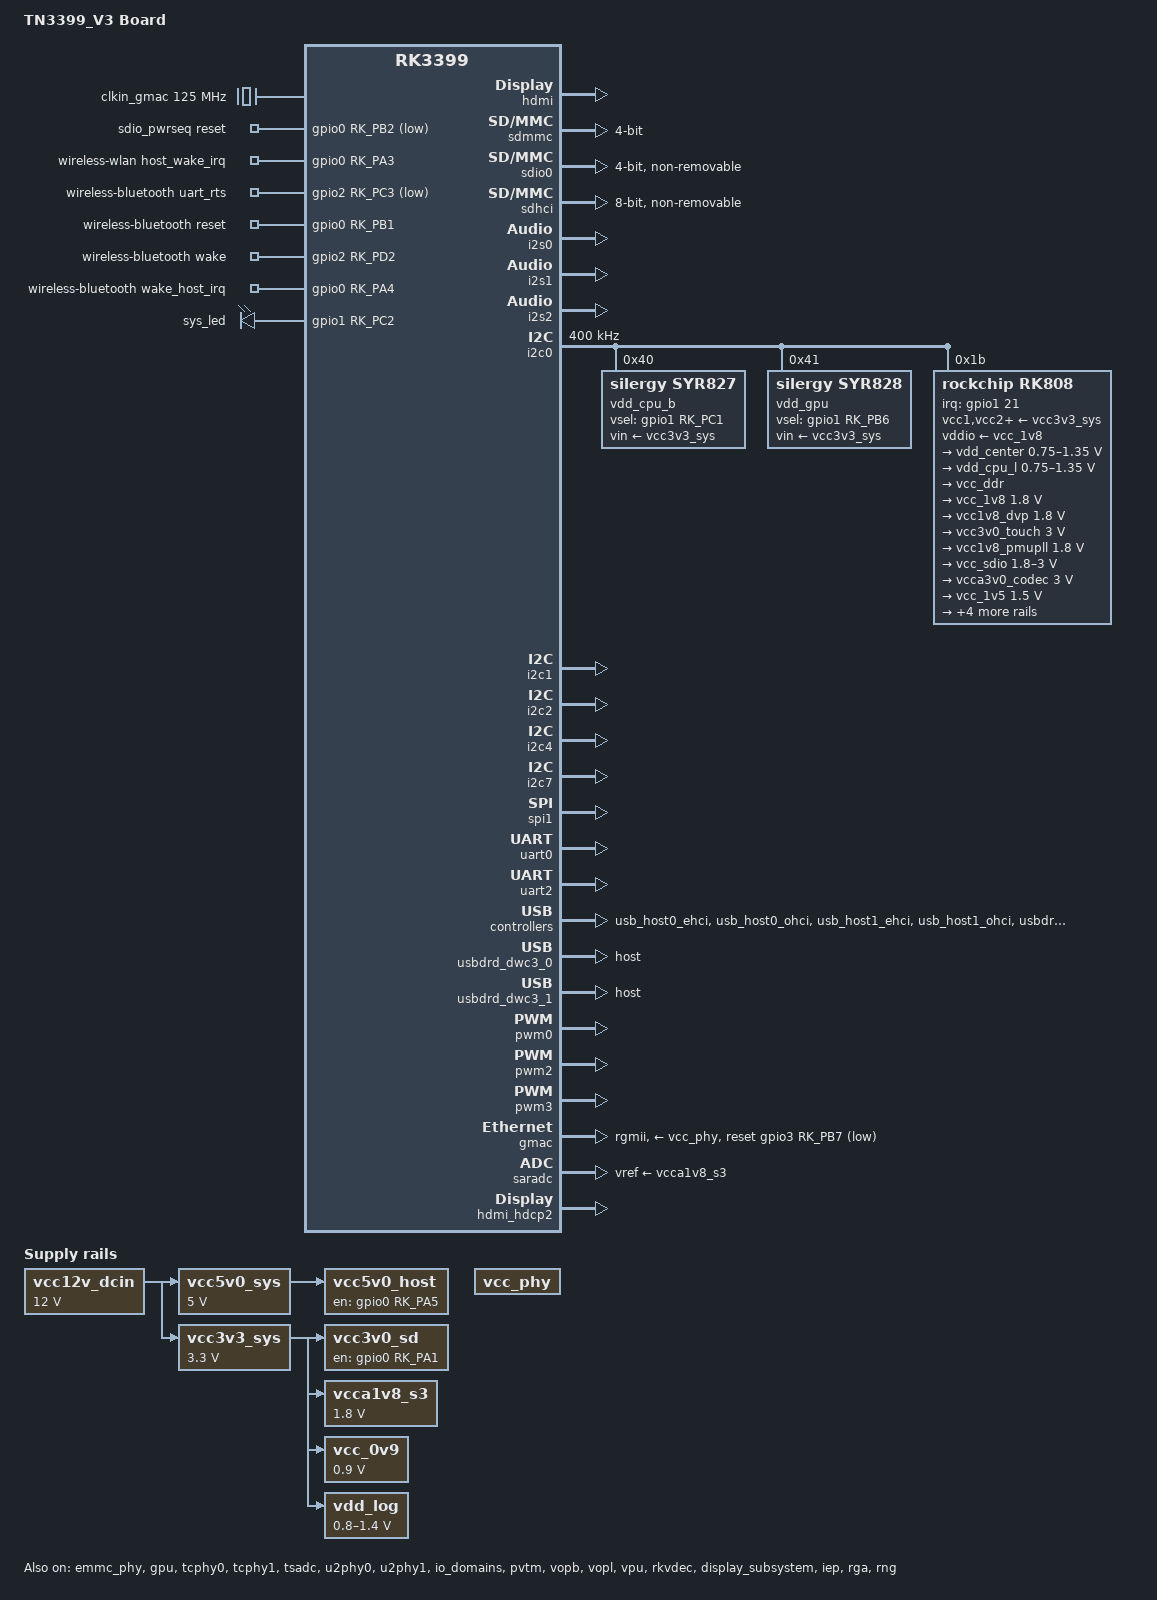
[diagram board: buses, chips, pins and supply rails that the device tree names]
// SPDX-License-Identifier: (GPL-2.0+ OR MIT)
/*
 * dts from https://github.com/retro98boy/linux-tn3399_v3
 */

/dts-v1/;
#include <dt-bindings/pwm/pwm.h>
#include <dt-bindings/input/input.h>
#include "rk3399.dtsi"
#include "rk3399-opp.dtsi"
#include "rk3399-vop-clk-set.dtsi"

/ {
	model = "TN3399_V3 Board";
	compatible = "rockchip,tn3399_v3", "rockchip,rk3399";

	chosen {
		bootargs = "earlycon=uart8250,mmio32,0xff1a0000 swiotlb=1";
		stdout-path = "serial2:1500000n8";
	};

	vcc12v_dcin: vcc12v-dcin {
		compatible = "regulator-fixed";
		regulator-name = "vcc12v_dcin";
		regulator-always-on;
		regulator-boot-on;
		regulator-min-microvolt = <12000000>;
		regulator-max-microvolt = <12000000>;
	};

	vcc5v0_sys: vcc5v0-sys {
		compatible = "regulator-fixed";
		regulator-name = "vcc5v0_sys";
		regulator-always-on;
		regulator-boot-on;
		regulator-min-microvolt = <5000000>;
		regulator-max-microvolt = <5000000>;
		vin-supply = <&vcc12v_dcin>;
	};

	vcc5v0_host: vcc5v0-host {
		compatible = "regulator-fixed";
		enable-active-high;
		gpio = <&gpio0 RK_PA5 GPIO_ACTIVE_HIGH>;
		pinctrl-names = "default";
		pinctrl-0 = <&vcc5v0_host_en>;
		regulator-name = "vcc5v0_host";
		regulator-always-on;
		regulator-boot-on;
		vin-supply = <&vcc5v0_sys>;
	};

	vcc3v3_sys: vcc3v3-sys {
		compatible = "regulator-fixed";
		regulator-name = "vcc3v3_sys";
		regulator-always-on;
		regulator-boot-on;
		regulator-min-microvolt = <3300000>;
		regulator-max-microvolt = <3300000>;
		vin-supply = <&vcc12v_dcin>;
	};

	vcc3v0_sd: vcc3v0-sd {
		compatible = "regulator-fixed";
		enable-active-high;
		gpio = <&gpio0 RK_PA1 GPIO_ACTIVE_HIGH>;
		pinctrl-names = "default";
		pinctrl-0 = <&vcc3v0_sd_en>;
		regulator-name = "vcc3v0_sd";
		regulator-always-on;
		vin-supply = <&vcc3v3_sys>;
	};

	vcca1v8_s3: vcca1v8-s3 {
		compatible = "regulator-fixed";
		regulator-name = "vcca1v8_s3";
		regulator-always-on;
		regulator-boot-on;
		regulator-min-microvolt = <1800000>;
		regulator-max-microvolt = <1800000>;
		vin-supply = <&vcc3v3_sys>;
	};

	vcc_0v9: vcc-0v9 {
		compatible = "regulator-fixed";
		regulator-name = "vcc_0v9";
		regulator-always-on;
		regulator-boot-on;
		regulator-min-microvolt = <900000>;
		regulator-max-microvolt = <900000>;
		vin-supply = <&vcc3v3_sys>;
	};

	vcc_phy: vcc-phy {
		compatible = "regulator-fixed";
		regulator-name = "vcc_phy";
		regulator-always-on;
		regulator-boot-on;
	};

	vdd_log: vdd-log {
		compatible = "pwm-regulator";
		pwms = <&pwm2 0 25000 1>;
		regulator-name = "vdd_log";
		regulator-min-microvolt = <800000>;
		regulator-max-microvolt = <1400000>;
		regulator-always-on;
		regulator-boot-on;

		/* for rockchip boot on */
		rockchip,pwm_id= <2>;
		rockchip,pwm_voltage = <900000>;

		vin-supply = <&vcc3v3_sys>;
	};

	clkin_gmac: external-gmac-clock {
		compatible = "fixed-clock";
		clock-frequency = <125000000>;
		clock-output-names = "clkin_gmac";
		#clock-cells = <0>;
	};

	hdmi_sound: hdmi-sound {
		compatible = "simple-audio-card";
		simple-audio-card,format = "i2s";
		simple-audio-card,mclk-fs = <256>;
		simple-audio-card,name = "rockchip,hdmi";

		simple-audio-card,cpu {
			sound-dai = <&i2s2>;
		};

		simple-audio-card,codec {
			sound-dai = <&hdmi>;
		};
	};

	sdio_pwrseq: sdio-pwrseq {
		compatible = "mmc-pwrseq-simple";
		clocks = <&rk808 1>;
		clock-names = "ext_clock";
		pinctrl-names = "default";
		pinctrl-0 = <&wifi_enable_h>;

		/*
		 * On the module itself this is one of these (depending
		 * on the actual card populated):
		 * - SDIO_RESET_L_WL_REG_ON
		 * - PDN (power down when low)
		 */
		reset-gpios = <&gpio0 RK_PB2 GPIO_ACTIVE_LOW>;
	};

	wireless-wlan {
		compatible = "wlan-platdata";
		rockchip,grf = <&grf>;
		wifi_chip_type = "ap6255";
		sdio_vref = <1800>;
		WIFI,host_wake_irq = <&gpio0 RK_PA3 GPIO_ACTIVE_HIGH>;
	};

	wireless-bluetooth {
		compatible = "bluetooth-platdata";
		clocks = <&rk808 1>;
		clock-names = "ext_clock";
		uart_rts_gpios = <&gpio2 RK_PC3 GPIO_ACTIVE_LOW>;
		pinctrl-names = "default", "rts_gpio";
		pinctrl-0 = <&uart0_rts>;
		pinctrl-1 = <&uart0_gpios>;
		BT,reset_gpio    = <&gpio0 RK_PB1 GPIO_ACTIVE_HIGH>;
		BT,wake_gpio     = <&gpio2 RK_PD2 GPIO_ACTIVE_HIGH>;
		BT,wake_host_irq = <&gpio0 RK_PA4 GPIO_ACTIVE_HIGH>;
	};

	gpio-leds {
		compatible = "gpio-leds";

		sys_led {
			label = "sys_led";
			linux,default-trigger = "heartbeat";
			default-state = "on";
			gpios = <&gpio1 RK_PC2 GPIO_ACTIVE_HIGH>;
		};
	};
};

&hdmi {
	status = "okay";
	#address-cells = <1>;
	#size-cells = <0>;
	#sound-dai-cells = <0>;
};

&sdmmc {
	status = "okay";
	clock-frequency = <100000000>;
	clock-freq-min-max = <100000 100000000>;
	supports-sd;
	bus-width = <4>;
	cap-mmc-highspeed;
	cap-sd-highspeed;
	disable-wp;
	num-slots = <1>;
	pinctrl-names = "default";
	pinctrl-0 = <&sdmmc_clk &sdmmc_cmd &sdmmc_cd &sdmmc_bus4>;
	card-detect-delay = <800>;
};

&sdio0 {
	status = "okay";
	clock-frequency = <100000000>;
	clock-freq-min-max = <200000 100000000>;
	supports-sdio;
	bus-width = <4>;
	disable-wp;
	cap-sd-highspeed;
	cap-sdio-irq;
	keep-power-in-suspend;
	mmc-pwrseq = <&sdio_pwrseq>;
	non-removable;
	num-slots = <1>;
	pinctrl-names = "default";
	pinctrl-0 = <&sdio0_bus4 &sdio0_cmd &sdio0_clk>;
};

&emmc_phy {
	status = "okay";
};

&sdhci {
    status = "okay";
	bus-width = <8>;
	mmc-hs400-1_8v;
	mmc-hs400-enhanced-strobe;
	non-removable;
	supports-emmc;
};

&i2s0 {
	status = "okay";
};

&i2s1 {
	status = "okay";
};

&i2s2 {
	status = "okay";
};

&i2c0 {
	status = "okay";
	i2c-scl-rising-time-ns = <168>;
	i2c-scl-falling-time-ns = <4>;
	clock-frequency = <400000>;

	vdd_cpu_b: syr827@40 {
		compatible = "silergy,syr827";
		reg = <0x40>;
		regulator-compatible = "fan53555-reg";
		pinctrl-0 = <&vsel1_gpio>;
		vsel-gpios = <&gpio1 RK_PC1 GPIO_ACTIVE_HIGH>;
		regulator-name = "vdd_cpu_b";
		regulator-min-microvolt = <712500>;
		regulator-max-microvolt = <1500000>;
		regulator-ramp-delay = <1000>;
		fcs,suspend-voltage-selector = <1>;
		regulator-always-on;
		regulator-boot-on;
		vin-supply = <&vcc3v3_sys>;
		regulator-state-mem {
			regulator-off-in-suspend;
		};
	};

	vdd_gpu: syr828@41 {
		compatible = "silergy,syr828";
		reg = <0x41>;
		regulator-compatible = "fan53555-reg";
		pinctrl-0 = <&vsel2_gpio>;
		vsel-gpios = <&gpio1 RK_PB6 GPIO_ACTIVE_HIGH>;
		regulator-name = "vdd_gpu";
		regulator-min-microvolt = <712500>;
		regulator-max-microvolt = <1500000>;
		regulator-ramp-delay = <1000>;
		fcs,suspend-voltage-selector = <1>;
		regulator-always-on;
		regulator-boot-on;
		vin-supply = <&vcc3v3_sys>;
		regulator-initial-mode = <1>; /* 1:force PWM 2:auto */
		regulator-state-mem {
			regulator-off-in-suspend;
		};
	};

	rk808: pmic@1b {
		compatible = "rockchip,rk808";
		reg = <0x1b>;
		interrupt-parent = <&gpio1>;
		interrupts = <21 IRQ_TYPE_LEVEL_LOW>;
		pinctrl-names = "default";
		pinctrl-0 = <&pmic_int_l>;
		rockchip,system-power-controller;
		wakeup-source;
		#clock-cells = <1>;
		clock-output-names = "xin32k", "rk808-clkout2";

		vcc1-supply = <&vcc3v3_sys>;
		vcc2-supply = <&vcc3v3_sys>;
		vcc3-supply = <&vcc3v3_sys>;
		vcc4-supply = <&vcc3v3_sys>;
		vcc6-supply = <&vcc3v3_sys>;
		vcc7-supply = <&vcc3v3_sys>;
		vcc8-supply = <&vcc3v3_sys>;
		vcc9-supply = <&vcc3v3_sys>;
		vcc10-supply = <&vcc3v3_sys>;
		vcc11-supply = <&vcc3v3_sys>;
		vcc12-supply = <&vcc3v3_sys>;
		vddio-supply = <&vcc_1v8>;

		rtc {
			status = "okay";
		};

		regulators {
			vdd_center: DCDC_REG1 {
				regulator-name = "vdd_center";
				regulator-min-microvolt = <750000>;
				regulator-max-microvolt = <1350000>;
				regulator-ramp-delay = <6001>;
				regulator-always-on;
				regulator-boot-on;
				regulator-state-mem {
					regulator-off-in-suspend;
				};
			};

			vdd_cpu_l: DCDC_REG2 {
				regulator-name = "vdd_cpu_l";
				regulator-min-microvolt = <750000>;
				regulator-max-microvolt = <1350000>;
				regulator-ramp-delay = <6001>;
				regulator-always-on;
				regulator-boot-on;
				regulator-state-mem {
					regulator-off-in-suspend;
				};
			};

			vcc_ddr: DCDC_REG3 {
				regulator-name = "vcc_ddr";
				regulator-always-on;
				regulator-boot-on;
				regulator-state-mem {
					regulator-on-in-suspend;
				};
			};

			vcc_1v8: DCDC_REG4 {
				regulator-name = "vcc_1v8";
				regulator-min-microvolt = <1800000>;
				regulator-max-microvolt = <1800000>;
				regulator-always-on;
				regulator-boot-on;
				regulator-state-mem {
					regulator-on-in-suspend;
					regulator-suspend-microvolt = <1800000>;
				};
			};

			vcc1v8_dvp: LDO_REG1 {
				regulator-name = "vcc1v8_dvp";
				regulator-min-microvolt = <1800000>;
				regulator-max-microvolt = <1800000>;
				regulator-always-on;
				regulator-boot-on;
				regulator-state-mem {
					regulator-off-in-suspend;
				};
			};

			vcc3v0_touch: LDO_REG2 {
				regulator-name = "vcc3v0_touch";
				regulator-min-microvolt = <3000000>;
				regulator-max-microvolt = <3000000>;
				regulator-always-on;
				regulator-boot-on;
				regulator-state-mem {
					regulator-off-in-suspend;
				};
			};

			vcc1v8_pmupll: LDO_REG3 {
				regulator-name = "vcc1v8_pmupll";
				regulator-min-microvolt = <1800000>;
				regulator-max-microvolt = <1800000>;
				regulator-always-on;
				regulator-boot-on;
				regulator-state-mem {
					regulator-on-in-suspend;
					regulator-suspend-microvolt = <1800000>;
				};
			};

			vcc_sdio: LDO_REG4 {
				regulator-name = "vcc_sdio";
				regulator-min-microvolt = <1800000>;
				regulator-max-microvolt = <3000000>;
				regulator-always-on;
				regulator-boot-on;
				regulator-state-mem {
					regulator-on-in-suspend;
					regulator-suspend-microvolt = <3000000>;
				};
			};

			vcca3v0_codec: LDO_REG5 {
				regulator-name = "vcca3v0_codec";
				regulator-min-microvolt = <3000000>;
				regulator-max-microvolt = <3000000>;
				regulator-always-on;
				regulator-boot-on;
				regulator-state-mem {
					regulator-off-in-suspend;
				};
			};

			vcc_1v5: LDO_REG6 {
				regulator-name = "vcc_1v5";
				regulator-min-microvolt = <1500000>;
				regulator-max-microvolt = <1500000>;
				regulator-always-on;
				regulator-boot-on;
				regulator-state-mem {
					regulator-on-in-suspend;
					regulator-suspend-microvolt = <1500000>;
				};
			};

			vcca1v8_codec: LDO_REG7 {
				regulator-name = "vcca1v8_codec";
				regulator-min-microvolt = <1800000>;
				regulator-max-microvolt = <1800000>;
				regulator-always-on;
				regulator-boot-on;
				regulator-state-mem {
					regulator-off-in-suspend;
				};
			};

			vcc_3v0: LDO_REG8 {
				regulator-name = "vcc_3v0";
				regulator-min-microvolt = <3000000>;
				regulator-max-microvolt = <3000000>;
				regulator-always-on;
				regulator-boot-on;
				regulator-state-mem {
					regulator-on-in-suspend;
					regulator-suspend-microvolt = <3000000>;
				};
			};

			vcc3v3_s3: SWITCH_REG1 {
				regulator-name = "vcc3v3_s3";
				regulator-always-on;
				regulator-boot-on;
				regulator-state-mem {
					regulator-on-in-suspend;
					regulator-suspend-microvolt = <3300000>;
				};
			};

			vcc3v3_s0: SWITCH_REG2 {
				regulator-name = "vcc3v3_s0";
				regulator-always-on;
				regulator-boot-on;
				regulator-state-mem {
					regulator-on-in-suspend;
				};
			};
		};
	};
};

&i2c1 {
	status = "okay";
};

&i2c2 {
	status = "okay";
};

&i2c4 {
	status = "okay";
};

&i2c7 {
	status = "okay";
};

&spi1 {
	status = "okay";
};

&cpu_l0 {
	cpu-supply = <&vdd_cpu_l>;
};

&cpu_l1 {
	cpu-supply = <&vdd_cpu_l>;
};

&cpu_l2 {
	cpu-supply = <&vdd_cpu_l>;
};

&cpu_l3 {
	cpu-supply = <&vdd_cpu_l>;
};

&cpu_b0 {
	cpu-supply = <&vdd_cpu_b>;
};

&cpu_b1 {
	cpu-supply = <&vdd_cpu_b>;
};

&gpu {
	status = "okay";
	mali-supply = <&vdd_gpu>;
};

&tcphy0 {
	status = "okay";
};

&tcphy1 {
	status = "okay";
};

&tsadc {
	status = "okay";
	/* tshut mode 0:CRU 1:GPIO */
	rockchip,hw-tshut-mode = <1>;
	/* tshut polarity 0:LOW 1:HIGH */
	rockchip,hw-tshut-polarity = <1>;
	rockchip,hw-tshut-temp = <110000>;
};

&u2phy0 {
	status = "okay";

	u2phy0_host: host-port {
		status = "okay";
		phy-supply = <&vcc5v0_host>;
	};
};

&u2phy1 {
	status = "okay";

	u2phy1_host: host-port {
		status = "okay";
		phy-supply = <&vcc5v0_host>;
	};
};

&uart0 {
	status = "okay";
	pinctrl-names = "default";
	pinctrl-0 = <&uart0_xfer &uart0_cts>;
};

&uart2 {
	status = "okay";
};

&usb_host0_ehci {
	status = "okay";
};

&usb_host0_ohci {
	status = "okay";
};

&usb_host1_ehci {
	status = "okay";
};

&usb_host1_ohci {
	status = "okay";
};

&usbdrd3_0 {
	status = "okay";
};

&usbdrd3_1 {
	status = "okay";
};

&usbdrd_dwc3_0 {
	status = "okay";
	dr_mode = "host";
};

&usbdrd_dwc3_1 {
	status = "okay";
	dr_mode = "host";
};

&pwm0 {
	status = "okay";
};

&pwm2 {
	status = "okay";
};

&pwm3 {
    status = "okay";
};

&gmac {
	status = "okay";
	phy-supply = <&vcc_phy>;
	phy-mode = "rgmii";
	clock_in_out = "input";
	snps,reset-gpio = <&gpio3 RK_PB7 GPIO_ACTIVE_LOW>;
	snps,reset-active-low;
	snps,reset-delays-us = <0 10000 50000>;
	assigned-clocks = <&cru SCLK_RMII_SRC>;
	assigned-clock-parents = <&clkin_gmac>;
	pinctrl-names = "default", "sleep";
	pinctrl-0 = <&rgmii_pins>;
	pinctrl-1 = <&rgmii_sleep_pins>;
	tx_delay = <0x28>;
	rx_delay = <0x11>;
};

&saradc {
	status = "okay";
	vref-supply = <&vcca1v8_s3>;
};

&io_domains {
	status = "okay";
	bt656-supply = <&vcc1v8_dvp>;
	audio-supply = <&vcca1v8_codec>;
	sdmmc-supply = <&vcc_sdio>;
	gpio1830-supply = <&vcc_3v0>;
};

&pinctrl {
	leds {
		sys_led_pin: sys-led-pin {
			rockchip,pins =
				<1 RK_PC2 RK_FUNC_GPIO &pcfg_pull_none>;
		};
	};

	sdio-pwrseq {
		wifi_enable_h: wifi-enable-h {
			rockchip,pins =
				<0 RK_PB2 RK_FUNC_GPIO &pcfg_pull_none>;
		};
	};

	wireless-bluetooth {
		uart0_gpios: uart0-gpios {
			rockchip,pins =
				<2 RK_PC3 RK_FUNC_GPIO &pcfg_pull_none>;
		};
	};

	usb2 {
		vcc5v0_host_en: vcc5v0-host-en {
			rockchip,pins =
				<0 RK_PA5 RK_FUNC_GPIO &pcfg_pull_none>;
		};
	};

	sdmmc {
		vcc3v0_sd_en: vcc3v0-sd-en {
			rockchip,pins =
				<0 RK_PA1 RK_FUNC_GPIO &pcfg_pull_none>;
		};
	};

	pmic {
		pmic_int_l: pmic-int-l {
			rockchip,pins =
				<1 RK_PC5 RK_FUNC_GPIO &pcfg_pull_up>;
		};

		vsel1_gpio: vsel1-gpio {
			rockchip,pins =
				<1 RK_PC1 RK_FUNC_GPIO &pcfg_pull_down>;
		};

		vsel2_gpio: vsel2-gpio {
			rockchip,pins =
				<1 RK_PB6 RK_FUNC_GPIO &pcfg_pull_down>;
		};
	};

	gmac {
		rgmii_sleep_pins: rgmii-sleep-pins {
			rockchip,pins =
				<3 RK_PB7 RK_FUNC_GPIO &pcfg_output_low>;
		};
	};
};

&pvtm {
	status = "okay";
};

&pmu_pvtm {
	status = "okay";
};

&pmu_io_domains {
	status = "okay";
	pmu1830-supply = <&vcc_1v8>;
};

&vopb {
	status = "okay";
};

&vopb_mmu {
	status = "okay";
};

&vopl {
	status = "okay";
};

&vopl_mmu {
	status = "okay";
};

&vpu {
	status = "okay";
};

&rkvdec {
	status = "okay";
};

&display_subsystem {
	status = "okay";
};

&iep {
	status = "okay";
};

&iep_mmu {
	status = "okay";
};

&rga {
	status = "okay";
};

&rng {
	status = "okay";
};

&hdmi_hdcp2 {
	status = "okay";
};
